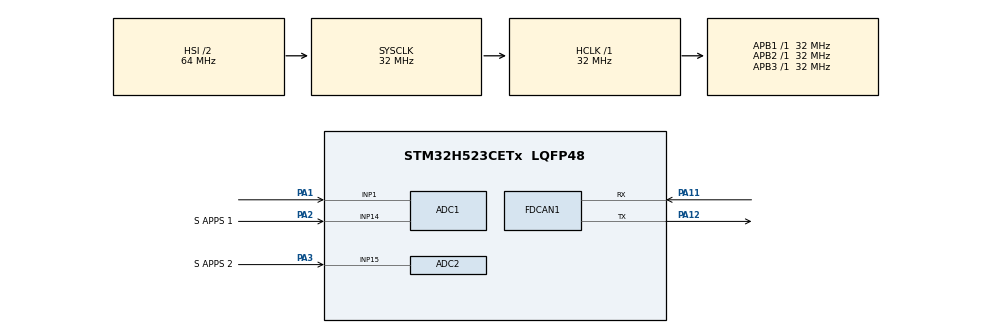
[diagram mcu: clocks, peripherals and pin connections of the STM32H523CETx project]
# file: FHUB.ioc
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ADC1.Channel-0\#ChannelRegularConversion=ADC_CHANNEL_14
ADC1.MonitoredBy-0\#ChannelRegularConversion=__NULL
ADC1.NbrOfConversionFlag=1
ADC1.OffsetNumber-0\#ChannelRegularConversion=ADC_OFFSET_NONE
ADC1.Rank-0\#ChannelRegularConversion=1
ADC1.SamplingTime-0\#ChannelRegularConversion=ADC_SAMPLETIME_2CYCLES_5
ADC1.master=1
ADC2.Channel-0\#ChannelRegularConversion=ADC_CHANNEL_15
ADC2.MonitoredBy-0\#ChannelRegularConversion=__NULL
ADC2.NbrOfConversionFlag=1
ADC2.OffsetNumber-0\#ChannelRegularConversion=ADC_OFFSET_NONE
ADC2.Rank-0\#ChannelRegularConversion=1
ADC2.SamplingTime-0\#ChannelRegularConversion=ADC_SAMPLETIME_2CYCLES_5
BOOTPATH.BootPathName=LEGACY
BOOTPATH.UserSelectedBootPath=LEGACY
CORTEX_M33_NS.userName=CORTEX_M33
FDCAN1.CalculateBaudRateNominal=500000
FDCAN1.CalculateTimeBitNominal=2000
FDCAN1.CalculateTimeQuantumNominal=500.0
FDCAN1.ExtFiltersNbr=1
FDCAN1.NominalPrescaler=43
FDCAN1.NominalTimeSeg1=1
FDCAN1.NominalTimeSeg2=2
FDCAN1.StdFiltersNbr=1
Mcu.Family=STM32H5
Mcu.Name=STM32H523CETx
Mcu.Package=LQFP48
NVIC.PriorityGroup=NVIC_PRIORITYGROUP_4
PA1.Signal=ADCx_INP1
PA11.Mode=FDCAN_Activate
PA11.Signal=FDCAN1_RX
PA12.Mode=FDCAN_Activate
PA12.Signal=FDCAN1_TX
PA2.GPIO_Label=S APPS 1
PA2.Signal=ADCx_INP14
PA3.GPIO_Label=S APPS 2
PA3.Signal=ADCx_INP15
ProjectManager.HeapSize=0x200
ProjectManager.StackSize=0x400
ProjectManager.TargetToolchain=STM32CubeIDE
RCC.ADCCLockSelection=RCC_ADCDACCLKSOURCE_HSI
RCC.ADCFreq_Value=32000000
RCC.AHBFreq_Value=32000000
RCC.APB1Freq_Value=32000000
RCC.APB1TimFreq_Value=32000000
RCC.APB2Freq_Value=32000000
RCC.APB2TimFreq_Value=32000000
RCC.APB3Freq_Value=32000000
RCC.CSI_VALUE=4000000
RCC.CortexFreq_Value=32000000
RCC.EPOD_VALUE=4000000
RCC.FDCANClockSelection=RCC_FDCANCLKSOURCE_PLL1Q
RCC.HCLKFreq_Value=32000000
RCC.HSE_VALUE=25000000
RCC.HSI48_VALUE=48000000
RCC.HSI_VALUE=64000000
RCC.LSE_VALUE=32768
RCC.LSIRC_VALUE=32000
RCC.PLL1Q=6
RCC.PLL2FRACN=0
RCC.PLL2N=32
RCC.PLL2R=4
RCC.PLLFRACN=0
RCC.SYSCLKFreq_VALUE=32000000
RCC.USBFreq_Value=48000000
RCC.VCOOutputFreq_Value=516000000
SH.ADCx_INP1.0=ADC1_INP1,IN1-Single-Ended
SH.ADCx_INP14.0=ADC1_INP14,IN14-Single-Ended
SH.ADCx_INP15.0=ADC2_INP15,IN15-Single-Ended
VP_BOOTPATH_VS_BOOTPATH.Mode=BP_Activate
VP_CORTEX_M33_NS_VS_Hclk.Mode=Hclk_Mode
VP_MEMORYMAP_VS_MEMORYMAP.Mode=CurAppReg
VP_PWR_VS_LPOM.Mode=PowerOptimisation
VP_PWR_VS_SECSignals.Mode=Security/Privilege
board=custom

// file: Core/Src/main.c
/* USER CODE BEGIN Header */
/**
  ******************************************************************************
  * @file           : main.c
  * @brief          : Main program body
  ******************************************************************************
  * @attention
  *
  * Copyright (c) 2025 STMicroelectronics.
  * All rights reserved.
  *
  * This software is licensed under terms that can be found in the LICENSE file
  * in the root directory of this software component.
  * If no LICENSE file comes with this software, it is provided AS-IS.
  *
  ******************************************************************************
  */
/* USER CODE END Header */
#include "main.h"

ADC_HandleTypeDef hadc1;
ADC_HandleTypeDef hadc2;

FDCAN_HandleTypeDef hfdcan1;

void SystemClock_Config(void);
static void MX_GPIO_Init(void);
static void MX_ADC1_Init(void);
static void MX_FDCAN1_Init(void);
static void MX_ADC2_Init(void);

/* USER CODE BEGIN 0 */
FDCAN_TxHeaderTypeDef TxHeader;

uint8_t TxData[8];

uint16_t s1_aceleracion = 0; // Lectura del sensor 1 del pedal de aceleración
uint16_t s2_aceleracion = 0; // Lectura del sensor 2 del pedal de aceleración

char uart_msg[100];
char TxBuffer[250];
uint8_t error = 0;

void ADC_Select_S1 ();
void ADC_Select_SFL ();
void ADC_Select_S2 ();

/* USER CODE END 0 */

int main(void)
{

  /* MCU Configuration--------------------------------------------------------*/

  /* Reset of all peripherals, Initializes the Flash interface and the Systick. */
  HAL_Init();

  /* Configure the system clock */
  SystemClock_Config();

  /* Initialize all configured peripherals */
  MX_GPIO_Init();
  MX_ADC1_Init();
  MX_FDCAN1_Init();
  MX_ADC2_Init();
  /* USER CODE BEGIN 2 */

	if (HAL_FDCAN_Start(&hfdcan1) != HAL_OK) {
		Error_Handler();
	}

	/*if (HAL_ADC_Start(&hadc1) != HAL_OK){
		Error_Handler();
	}*/

	//HAL_ADC_Start(&hadc1);
	//ADC_Select_S1();
	//ADC_Select_S2();

  /* USER CODE END 2 */

  /* Infinite loop */
  while (1)
  {

    /* USER CODE BEGIN 3 */

		HAL_ADC_Start(&hadc1);
		s1_aceleracion = HAL_ADC_PollForConversion(&hadc1, HAL_MAX_DELAY);
		HAL_ADC_Stop(&hadc1);
		HAL_Delay(10);

		HAL_ADC_Start(&hadc2);
		HAL_ADC_PollForConversion(&hadc2, HAL_MAX_DELAY);
		s2_aceleracion = HAL_ADC_GetValue(&hadc2);
		HAL_ADC_Stop(&hadc2);
		HAL_Delay(10);

		TxHeader.Identifier = 0x100;
		TxHeader.DataLength = 4;
		TxHeader.IdType = FDCAN_STANDARD_ID;
		TxHeader.FDFormat = FDCAN_CLASSIC_CAN;
		TxHeader.TxFrameType = FDCAN_DATA_FRAME;

		TxData[0] = (s1_aceleracion >> 8) & 0xFF; // Los 4 bits más significativos
		TxData[1] = s1_aceleracion & 0xFF;        // Los 8 bits menos significativos

		TxData[2] = (s2_aceleracion >> 8) & 0xFF; // Los 4 bits más significativos
		TxData[3] = s2_aceleracion & 0xFF;        // Los 8 bits menos significativos

		if (HAL_FDCAN_AddMessageToTxFifoQ(&hfdcan1, &TxHeader, TxData) == HAL_OK) {
			//print("Valor de sensor de aceleración enviado\n\r");
		}
  }
  /* USER CODE END 3 */
}

void SystemClock_Config(void)
{
  RCC_OscInitTypeDef RCC_OscInitStruct = {0};
  RCC_ClkInitTypeDef RCC_ClkInitStruct = {0};

  /** Configure the main internal regulator output voltage
  */
  __HAL_PWR_VOLTAGESCALING_CONFIG(PWR_REGULATOR_VOLTAGE_SCALE3);

  while(!__HAL_PWR_GET_FLAG(PWR_FLAG_VOSRDY)) {}

  /** Initializes the RCC Oscillators according to the specified parameters
  * in the RCC_OscInitTypeDef structure.
  */
  RCC_OscInitStruct.OscillatorType = RCC_OSCILLATORTYPE_HSI|RCC_OSCILLATORTYPE_CSI;
  RCC_OscInitStruct.HSIState = RCC_HSI_ON;
  RCC_OscInitStruct.HSIDiv = RCC_HSI_DIV2;
  RCC_OscInitStruct.HSICalibrationValue = RCC_HSICALIBRATION_DEFAULT;
  RCC_OscInitStruct.CSIState = RCC_CSI_ON;
  RCC_OscInitStruct.CSICalibrationValue = RCC_CSICALIBRATION_DEFAULT;
  RCC_OscInitStruct.PLL.PLLState = RCC_PLL_ON;
  RCC_OscInitStruct.PLL.PLLSource = RCC_PLL1_SOURCE_CSI;
  RCC_OscInitStruct.PLL.PLLM = 1;
  RCC_OscInitStruct.PLL.PLLN = 129;
  RCC_OscInitStruct.PLL.PLLP = 2;
  RCC_OscInitStruct.PLL.PLLQ = 6;
  RCC_OscInitStruct.PLL.PLLR = 2;
  RCC_OscInitStruct.PLL.PLLRGE = RCC_PLL1_VCIRANGE_2;
  RCC_OscInitStruct.PLL.PLLVCOSEL = RCC_PLL1_VCORANGE_WIDE;
  RCC_OscInitStruct.PLL.PLLFRACN = 0;
  if (HAL_RCC_OscConfig(&RCC_OscInitStruct) != HAL_OK)
  {
    Error_Handler();
  }

  /** Initializes the CPU, AHB and APB buses clocks
  */
  RCC_ClkInitStruct.ClockType = RCC_CLOCKTYPE_HCLK|RCC_CLOCKTYPE_SYSCLK
                              |RCC_CLOCKTYPE_PCLK1|RCC_CLOCKTYPE_PCLK2
                              |RCC_CLOCKTYPE_PCLK3;
  RCC_ClkInitStruct.SYSCLKSource = RCC_SYSCLKSOURCE_HSI;
  RCC_ClkInitStruct.AHBCLKDivider = RCC_SYSCLK_DIV1;
  RCC_ClkInitStruct.APB1CLKDivider = RCC_HCLK_DIV1;
  RCC_ClkInitStruct.APB2CLKDivider = RCC_HCLK_DIV1;
  RCC_ClkInitStruct.APB3CLKDivider = RCC_HCLK_DIV1;

  if (HAL_RCC_ClockConfig(&RCC_ClkInitStruct, FLASH_LATENCY_1) != HAL_OK)
  {
    Error_Handler();
  }

  /** Configure the programming delay
  */
  __HAL_FLASH_SET_PROGRAM_DELAY(FLASH_PROGRAMMING_DELAY_0);
}

static void MX_ADC1_Init(void)
{

  ADC_ChannelConfTypeDef sConfig = {0};

  /** Common config
  */
  hadc1.Instance = ADC1;
  hadc1.Init.ClockPrescaler = ADC_CLOCK_ASYNC_DIV1;
  hadc1.Init.Resolution = ADC_RESOLUTION_12B;
  hadc1.Init.DataAlign = ADC_DATAALIGN_RIGHT;
  hadc1.Init.ScanConvMode = ADC_SCAN_DISABLE;
  hadc1.Init.EOCSelection = ADC_EOC_SINGLE_CONV;
  hadc1.Init.LowPowerAutoWait = DISABLE;
  hadc1.Init.ContinuousConvMode = DISABLE;
  hadc1.Init.NbrOfConversion = 1;
  hadc1.Init.DiscontinuousConvMode = DISABLE;
  hadc1.Init.ExternalTrigConv = ADC_SOFTWARE_START;
  hadc1.Init.ExternalTrigConvEdge = ADC_EXTERNALTRIGCONVEDGE_NONE;
  hadc1.Init.DMAContinuousRequests = DISABLE;
  hadc1.Init.SamplingMode = ADC_SAMPLING_MODE_NORMAL;
  hadc1.Init.Overrun = ADC_OVR_DATA_PRESERVED;
  hadc1.Init.OversamplingMode = DISABLE;
  if (HAL_ADC_Init(&hadc1) != HAL_OK)
  {
    Error_Handler();
  }

  /** Configure Regular Channel
  */
  sConfig.Channel = ADC_CHANNEL_14;
  sConfig.Rank = ADC_REGULAR_RANK_1;
  sConfig.SamplingTime = ADC_SAMPLETIME_2CYCLES_5;
  sConfig.SingleDiff = ADC_SINGLE_ENDED;
  sConfig.OffsetNumber = ADC_OFFSET_NONE;
  sConfig.Offset = 0;
  if (HAL_ADC_ConfigChannel(&hadc1, &sConfig) != HAL_OK)
  {
    Error_Handler();
  }

}

static void MX_ADC2_Init(void)
{

  ADC_ChannelConfTypeDef sConfig = {0};

  /** Common config
  */
  hadc2.Instance = ADC2;
  hadc2.Init.ClockPrescaler = ADC_CLOCK_ASYNC_DIV1;
  hadc2.Init.Resolution = ADC_RESOLUTION_12B;
  hadc2.Init.DataAlign = ADC_DATAALIGN_RIGHT;
  hadc2.Init.ScanConvMode = ADC_SCAN_DISABLE;
  hadc2.Init.EOCSelection = ADC_EOC_SINGLE_CONV;
  hadc2.Init.LowPowerAutoWait = DISABLE;
  hadc2.Init.ContinuousConvMode = DISABLE;
  hadc2.Init.NbrOfConversion = 1;
  hadc2.Init.DiscontinuousConvMode = DISABLE;
  hadc2.Init.ExternalTrigConv = ADC_SOFTWARE_START;
  hadc2.Init.ExternalTrigConvEdge = ADC_EXTERNALTRIGCONVEDGE_NONE;
  hadc2.Init.DMAContinuousRequests = DISABLE;
  hadc2.Init.SamplingMode = ADC_SAMPLING_MODE_NORMAL;
  hadc2.Init.Overrun = ADC_OVR_DATA_PRESERVED;
  hadc2.Init.OversamplingMode = DISABLE;
  if (HAL_ADC_Init(&hadc2) != HAL_OK)
  {
    Error_Handler();
  }

  /** Configure Regular Channel
  */
  sConfig.Channel = ADC_CHANNEL_15;
  sConfig.Rank = ADC_REGULAR_RANK_1;
  sConfig.SamplingTime = ADC_SAMPLETIME_2CYCLES_5;
  sConfig.SingleDiff = ADC_SINGLE_ENDED;
  sConfig.OffsetNumber = ADC_OFFSET_NONE;
  sConfig.Offset = 0;
  if (HAL_ADC_ConfigChannel(&hadc2, &sConfig) != HAL_OK)
  {
    Error_Handler();
  }

}

static void MX_FDCAN1_Init(void)
{

  hfdcan1.Instance = FDCAN1;
  hfdcan1.Init.ClockDivider = FDCAN_CLOCK_DIV1;
  hfdcan1.Init.FrameFormat = FDCAN_FRAME_CLASSIC;
  hfdcan1.Init.Mode = FDCAN_MODE_NORMAL;
  hfdcan1.Init.AutoRetransmission = DISABLE;
  hfdcan1.Init.TransmitPause = DISABLE;
  hfdcan1.Init.ProtocolException = DISABLE;
  hfdcan1.Init.NominalPrescaler = 43;
  hfdcan1.Init.NominalSyncJumpWidth = 1;
  hfdcan1.Init.NominalTimeSeg1 = 1;
  hfdcan1.Init.NominalTimeSeg2 = 2;
  hfdcan1.Init.DataPrescaler = 1;
  hfdcan1.Init.DataSyncJumpWidth = 1;
  hfdcan1.Init.DataTimeSeg1 = 1;
  hfdcan1.Init.DataTimeSeg2 = 1;
  hfdcan1.Init.StdFiltersNbr = 1;
  hfdcan1.Init.ExtFiltersNbr = 1;
  hfdcan1.Init.TxFifoQueueMode = FDCAN_TX_FIFO_OPERATION;
  if (HAL_FDCAN_Init(&hfdcan1) != HAL_OK)
  {
    Error_Handler();
  }
  /* USER CODE BEGIN FDCAN1_Init 2 */
	FDCAN_FilterTypeDef sFilterConfig;
	sFilterConfig.IdType = FDCAN_STANDARD_ID;
	sFilterConfig.FilterIndex = 0;
	sFilterConfig.FilterType = FDCAN_FILTER_MASK;
	sFilterConfig.FilterConfig = FDCAN_FILTER_TO_RXFIFO0;
	sFilterConfig.FilterID1 = 0x0;
	sFilterConfig.FilterID2 = 0x0;
	if (HAL_FDCAN_ConfigFilter(&hfdcan1, &sFilterConfig) != HAL_OK) {
		Error_Handler();
	}

  /* USER CODE END FDCAN1_Init 2 */

}

static void MX_GPIO_Init(void)
{

  /* GPIO Ports Clock Enable */
  __HAL_RCC_GPIOA_CLK_ENABLE();

}

/* USER CODE BEGIN 4 */

void ADC_Select_S1 (void)
{
	ADC_ChannelConfTypeDef sConfig = {0};
	  /** Configure for the selected ADC regular channel its corresponding rank in the sequencer and its sample time.
	  */
	  sConfig.Channel = ADC_CHANNEL_14;
	  sConfig.Rank = ADC_REGULAR_RANK_1;
	  sConfig.SamplingTime = ADC_SAMPLETIME_2CYCLES_5;
	  sConfig.SingleDiff = ADC_SINGLE_ENDED;
	  sConfig.OffsetNumber = ADC_OFFSET_NONE;
	  sConfig.Offset = 0;
	  if (HAL_ADC_ConfigChannel(&hadc1, &sConfig) != HAL_OK)
	  {
	    Error_Handler();
	  }
}

void ADC_Select_SFL (void)
{
	ADC_ChannelConfTypeDef sConfig = {0};
	  /** Configure for the selected ADC regular channel its corresponding rank in the sequencer and its sample time.
	  */
	  sConfig.Channel = ADC_CHANNEL_1;
	  sConfig.Rank = ADC_REGULAR_RANK_1;
	  sConfig.SamplingTime = ADC_SAMPLETIME_2CYCLES_5;
	  sConfig.SingleDiff = ADC_SINGLE_ENDED;
	  sConfig.OffsetNumber = ADC_OFFSET_NONE;
	  sConfig.Offset = 0;
	  if (HAL_ADC_ConfigChannel(&hadc1, &sConfig) != HAL_OK)
	  {
	    Error_Handler();
	  }
}

void ADC_Select_S2 (void)
{
	ADC_ChannelConfTypeDef sConfig = {0};
	  /** Configure for the selected ADC regular channel its corresponding rank in the sequencer and its sample time.
	  */
	  sConfig.Channel = ADC_CHANNEL_15;
	  sConfig.Rank = ADC_REGULAR_RANK_1;
	  sConfig.SamplingTime = ADC_SAMPLETIME_2CYCLES_5;
	  sConfig.SingleDiff = ADC_SINGLE_ENDED;
	  sConfig.OffsetNumber = ADC_OFFSET_NONE;
	  sConfig.Offset = 0;
	  if (HAL_ADC_ConfigChannel(&hadc2, &sConfig) != HAL_OK)
	  {
	    Error_Handler();
	  }
}

/* USER CODE END 4 */

void Error_Handler(void)
{
  __disable_irq();
  while (1)
  {
  }
}
